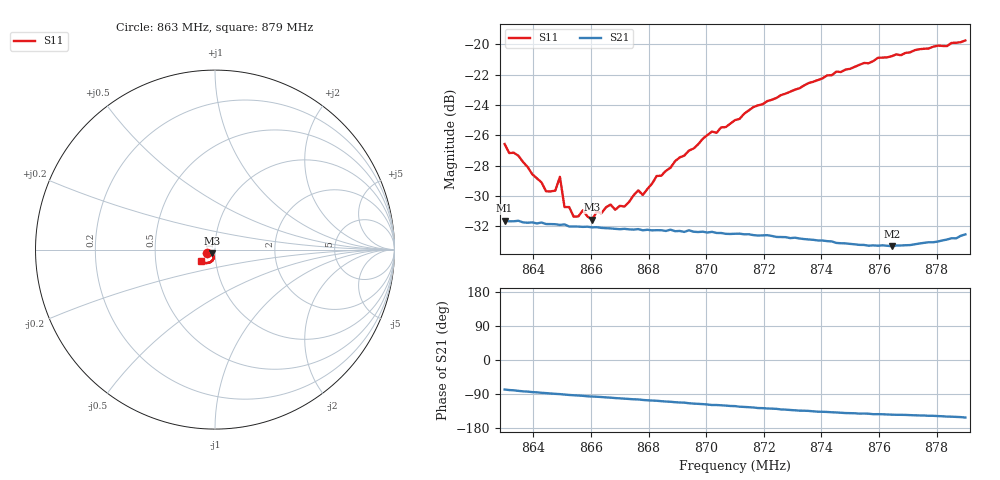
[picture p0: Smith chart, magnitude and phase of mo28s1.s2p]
# HZ S RI R 50
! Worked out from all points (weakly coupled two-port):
!   101 points, 863 MHz to 879 MHz, reference 50 ohm
!   highest |S21| = -31.62 dB at 863 MHz (marker M1); lowest = -33.3 dB at 876.44 MHz (marker M2)
!   lowest |S11| = -31.6 dB at 866.04 MHz (marker M3), VSWR 1.05, Z = 48.3 - j1.93 ohm
!   |S11| at or under -10 dB: start of sweep to end of sweep
!   S12 and S22 are empty: the file has one direction only
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8.63e8  -0.044 -0.0164  0.00552 -0.0256  0 0  0 0
8.6444e8  -0.0294 -0.0145  0.00117 -0.0255  0 0  0 0
8.6476e8  -0.0279 -0.0176  0.000299 -0.0255  0 0  0 0
8.6492e8  -0.0312 -0.0191  -8e-06 -0.0254  0 0  0 0
8.6508e8  -0.0237 -0.0169  -0.000519 -0.0255  0 0  0 0
8.6524e8  -0.0236 -0.0171  -0.000986 -0.0251  0 0  0 0
8.654e8  -0.0211 -0.0169  -0.00133 -0.0251  0 0  0 0
8.6572e8  -0.0198 -0.0204  -0.002 -0.025  0 0  0 0
8.6604e8  -0.0173 -0.02  -0.00277 -0.0248  0 0  0 0
8.662e8  -0.0174 -0.0221  -0.003 -0.0248  0 0  0 0
8.6668e8  -0.015 -0.0256  -0.00401 -0.0244  0 0  0 0
8.6684e8  -0.013 -0.0254  -0.00447 -0.0243  0 0  0 0
8.6716e8  -0.0115 -0.0268  -0.00515 -0.0241  0 0  0 0
8.6764e8  -0.0102 -0.0314  -0.00596 -0.0239  0 0  0 0
8.678e8  -0.00809 -0.0308  -0.00648 -0.0235  0 0  0 0
8.6828e8  -0.00768 -0.036  -0.00736 -0.0233  0 0  0 0
8.6844e8  -0.00772 -0.0361  -0.00781 -0.0231  0 0  0 0
8.702e8  -0.00877 -0.0508  -0.0116 -0.0211  0 0  0 0
8.71e8  -0.0108 -0.0552  -0.0125 -0.0202  0 0  0 0
8.7372e8  -0.026 -0.0707  -0.0162 -0.0159  0 0  0 0
8.7644e8  -0.0532 -0.0743  -0.0175 -0.0126  0 0  0 0
8.79e8  -0.0797 -0.0652  -0.0208 -0.0112  0 0  0 0
